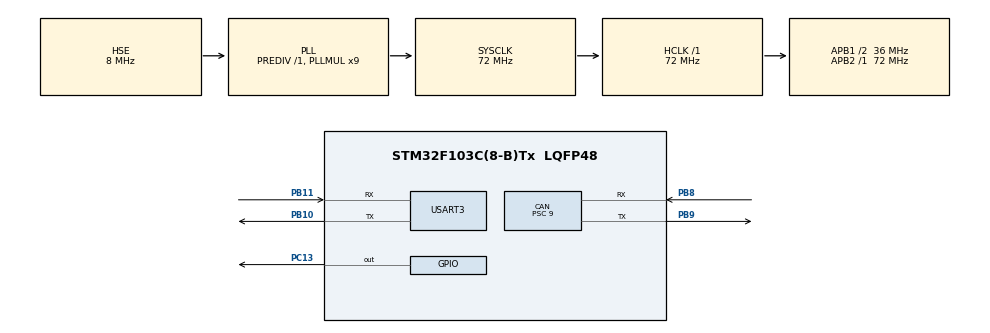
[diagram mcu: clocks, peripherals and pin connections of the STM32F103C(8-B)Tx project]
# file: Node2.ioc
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CAN.BS1=CAN_BS1_6TQ
CAN.CalculateBaudRate=500000
CAN.CalculateTimeBit=2000
CAN.CalculateTimeQuantum=250.0
CAN.Prescaler=9
Mcu.Family=STM32F1
Mcu.Name=STM32F103C(8-B)Tx
Mcu.Package=LQFP48
NVIC.PriorityGroup=NVIC_PRIORITYGROUP_4
NVIC.USB_LP_CAN1_RX0_IRQn=true\:0\:0\:false\:false\:true\:true\:true\:true
PA13.Mode=Serial_Wire
PA13.Signal=SYS_JTMS-SWDIO
PA14.Mode=Serial_Wire
PA14.Signal=SYS_JTCK-SWCLK
PB10.Mode=Asynchronous
PB10.Signal=USART3_TX
PB11.Mode=Asynchronous
PB11.Signal=USART3_RX
PB8.Mode=CAN_Activate
PB8.Signal=CAN_RX
PB9.Mode=CAN_Activate
PB9.Signal=CAN_TX
PC13-TAMPER-RTC.Signal=GPIO_Output
PD0-OSC_IN.Mode=HSE-External-Oscillator
PD0-OSC_IN.Signal=RCC_OSC_IN
PD1-OSC_OUT.Mode=HSE-External-Oscillator
PD1-OSC_OUT.Signal=RCC_OSC_OUT
ProjectManager.HeapSize=0x200
ProjectManager.StackSize=0x400
ProjectManager.TargetToolchain=CMake
RCC.AHBFreq_Value=72000000
RCC.APB1CLKDivider=RCC_HCLK_DIV2
RCC.APB1Freq_Value=36000000
RCC.APB1TimFreq_Value=72000000
RCC.APB2Freq_Value=72000000
RCC.APB2TimFreq_Value=72000000
RCC.HCLKFreq_Value=72000000
RCC.PLLMUL=RCC_PLL_MUL9
RCC.PLLSourceVirtual=RCC_PLLSOURCE_HSE
RCC.SYSCLKFreq_VALUE=72000000
RCC.SYSCLKSource=RCC_SYSCLKSOURCE_PLLCLK
RCC.USBFreq_Value=72000000
USART3.VirtualMode=VM_ASYNC
board=custom

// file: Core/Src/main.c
/* USER CODE BEGIN Header */
/**
  ******************************************************************************
  * @file           : main.c
  * @brief          : Main program body
  ******************************************************************************
  * @attention
  *
  * Copyright (c) 2026 STMicroelectronics.
  * All rights reserved.
  *
  * This software is licensed under terms that can be found in the LICENSE file
  * in the root directory of this software component.
  * If no LICENSE file comes with this software, it is provided AS-IS.
  *
  ******************************************************************************
  */
/* USER CODE END Header */
#include "main.h"

/* USER CODE BEGIN Includes */
#include<stdio.h>
#include"can_ids.h"
/* USER CODE END Includes */

CAN_HandleTypeDef hcan;

UART_HandleTypeDef huart3;

void SystemClock_Config(void);
static void MX_GPIO_Init(void);
static void MX_CAN_Init(void);
static void MX_USART3_UART_Init(void);

/* USER CODE BEGIN 0 */
#define DEBUG_ESR  1      /* set 0 when you trust the bus */

static volatile uint16_t rx_dist    = 0;
static volatile uint8_t  rx_pot     = 0;
static volatile uint32_t last_rx_ms = 0;
static volatile uint8_t  have_data  = 0;
static volatile uint8_t  new_frame  = 0;

void HAL_CAN_RxFifo0MsgPendingCallback(CAN_HandleTypeDef *h)
{
  CAN_RxHeaderTypeDef rh;
  uint8_t d[8];

  while (HAL_CAN_GetRxFifoFillLevel(h, CAN_RX_FIFO0) > 0)
  {
    if (HAL_CAN_GetRxMessage(h, CAN_RX_FIFO0, &rh, d) != HAL_OK) break;

    if (rh.IDE == CAN_ID_STD && rh.StdId == CAN_ID_SENSOR && rh.DLC >= CAN_DLC_SENSOR)
    {
      uint16_t dist; uint8_t pot;
      can_unpack_sensor(d, &dist, &pot);
      rx_dist    = dist;
      rx_pot     = pot;
      last_rx_ms = HAL_GetTick();
      have_data  = 1;
      new_frame  = 1;
    }
  }
}
/* USER CODE END 0 */

int main(void)
{

  /* MCU Configuration--------------------------------------------------------*/

  /* Reset of all peripherals, Initializes the Flash interface and the Systick. */
  HAL_Init();

  /* Configure the system clock */
  SystemClock_Config();

  /* Initialize all configured peripherals */
  MX_GPIO_Init();
  MX_CAN_Init();
  MX_USART3_UART_Init();
  /* USER CODE BEGIN 2 */
  HAL_UART_Transmit(&huart3, (uint8_t*)"NODE B OK\r\n", 11, 100);

  CAN_FilterTypeDef f = {0};
  f.FilterBank = 0;
  f.FilterMode = CAN_FILTERMODE_IDMASK;
  f.FilterScale = CAN_FILTERSCALE_32BIT;
  f.FilterFIFOAssignment = CAN_RX_FIFO0;
  f.FilterActivation = ENABLE;
  if (HAL_CAN_ConfigFilter(&hcan, &f) != HAL_OK) Error_Handler();
  if (HAL_CAN_Start(&hcan) != HAL_OK) Error_Handler();
  if (HAL_CAN_ActivateNotification(&hcan, CAN_IT_RX_FIFO0_MSG_PENDING) != HAL_OK) Error_Handler();

  uint32_t last_print = 0;
  /* USER CODE END 2 */

  /* Infinite loop */
  while (1)
  {

    /* USER CODE BEGIN 3 */
    uint32_t now = HAL_GetTick();

    /* every received frame */
    if (new_frame)
    {
      new_frame = 0;

      __disable_irq();
      uint16_t dist = rx_dist;
      uint8_t  pot  = rx_pot;
      __enable_irq();

      char m[64];
      int n;
      if (dist == CAN_DIST_NO_ECHO)
        n = snprintf(m, sizeof(m), "Dist: NO ECHO | Pot: %u%%\r\n", pot);
      else
        n = snprintf(m, sizeof(m), "Dist: %u cm | Pot: %u%%\r\n", dist, pot);
      HAL_UART_Transmit(&huart3, (uint8_t*)m, n, 100);
    }

    /* once per second */
    if (now - last_print >= 1000U)
    {
      last_print = now;

      if (!have_data || (now - last_rx_ms) > CAN_SENSOR_STALE_MS)
      {
        HAL_UART_Transmit(&huart3, (uint8_t*)"NO DATA\r\n", 9, 100);
      }
#if DEBUG_ESR
      char s[48];
      int k = snprintf(s, sizeof(s), "ESR=0x%08lX\r\n", (unsigned long)hcan.Instance->ESR);
      HAL_UART_Transmit(&huart3, (uint8_t*)s, k, 100);
#endif
    }
  }
  /* USER CODE END 3 */
}

void SystemClock_Config(void)
{
  RCC_OscInitTypeDef RCC_OscInitStruct = {0};
  RCC_ClkInitTypeDef RCC_ClkInitStruct = {0};

  /** Initializes the RCC Oscillators according to the specified parameters
  * in the RCC_OscInitTypeDef structure.
  */
  RCC_OscInitStruct.OscillatorType = RCC_OSCILLATORTYPE_HSE;
  RCC_OscInitStruct.HSEState = RCC_HSE_ON;
  RCC_OscInitStruct.HSEPredivValue = RCC_HSE_PREDIV_DIV1;
  RCC_OscInitStruct.HSIState = RCC_HSI_ON;
  RCC_OscInitStruct.PLL.PLLState = RCC_PLL_ON;
  RCC_OscInitStruct.PLL.PLLSource = RCC_PLLSOURCE_HSE;
  RCC_OscInitStruct.PLL.PLLMUL = RCC_PLL_MUL9;
  if (HAL_RCC_OscConfig(&RCC_OscInitStruct) != HAL_OK)
  {
    Error_Handler();
  }

  /** Initializes the CPU, AHB and APB buses clocks
  */
  RCC_ClkInitStruct.ClockType = RCC_CLOCKTYPE_HCLK|RCC_CLOCKTYPE_SYSCLK
                              |RCC_CLOCKTYPE_PCLK1|RCC_CLOCKTYPE_PCLK2;
  RCC_ClkInitStruct.SYSCLKSource = RCC_SYSCLKSOURCE_PLLCLK;
  RCC_ClkInitStruct.AHBCLKDivider = RCC_SYSCLK_DIV1;
  RCC_ClkInitStruct.APB1CLKDivider = RCC_HCLK_DIV2;
  RCC_ClkInitStruct.APB2CLKDivider = RCC_HCLK_DIV1;

  if (HAL_RCC_ClockConfig(&RCC_ClkInitStruct, FLASH_LATENCY_2) != HAL_OK)
  {
    Error_Handler();
  }
}

static void MX_CAN_Init(void)
{

  hcan.Instance = CAN1;
  hcan.Init.Prescaler = 9;
  hcan.Init.Mode = CAN_MODE_NORMAL;
  hcan.Init.SyncJumpWidth = CAN_SJW_1TQ;
  hcan.Init.TimeSeg1 = CAN_BS1_6TQ;
  hcan.Init.TimeSeg2 = CAN_BS2_1TQ;
  hcan.Init.TimeTriggeredMode = DISABLE;
  hcan.Init.AutoBusOff = DISABLE;
  hcan.Init.AutoWakeUp = DISABLE;
  hcan.Init.AutoRetransmission = DISABLE;
  hcan.Init.ReceiveFifoLocked = DISABLE;
  hcan.Init.TransmitFifoPriority = DISABLE;
  if (HAL_CAN_Init(&hcan) != HAL_OK)
  {
    Error_Handler();
  }

}

static void MX_USART3_UART_Init(void)
{

  huart3.Instance = USART3;
  huart3.Init.BaudRate = 115200;
  huart3.Init.WordLength = UART_WORDLENGTH_8B;
  huart3.Init.StopBits = UART_STOPBITS_1;
  huart3.Init.Parity = UART_PARITY_NONE;
  huart3.Init.Mode = UART_MODE_TX_RX;
  huart3.Init.HwFlowCtl = UART_HWCONTROL_NONE;
  huart3.Init.OverSampling = UART_OVERSAMPLING_16;
  if (HAL_UART_Init(&huart3) != HAL_OK)
  {
    Error_Handler();
  }

}

static void MX_GPIO_Init(void)
{
  GPIO_InitTypeDef GPIO_InitStruct = {0};

  /* GPIO Ports Clock Enable */
  __HAL_RCC_GPIOC_CLK_ENABLE();
  __HAL_RCC_GPIOD_CLK_ENABLE();
  __HAL_RCC_GPIOB_CLK_ENABLE();
  __HAL_RCC_GPIOA_CLK_ENABLE();

  /*Configure GPIO pin Output Level */
  HAL_GPIO_WritePin(GPIOC, GPIO_PIN_13, GPIO_PIN_RESET);

  /*Configure GPIO pin : PC13 */
  GPIO_InitStruct.Pin = GPIO_PIN_13;
  GPIO_InitStruct.Mode = GPIO_MODE_OUTPUT_PP;
  GPIO_InitStruct.Pull = GPIO_NOPULL;
  GPIO_InitStruct.Speed = GPIO_SPEED_FREQ_LOW;
  HAL_GPIO_Init(GPIOC, &GPIO_InitStruct);

}

void Error_Handler(void)
{
  __disable_irq();
  while (1)
  {
  }
}
